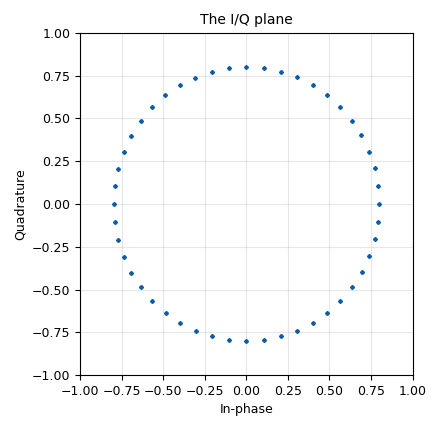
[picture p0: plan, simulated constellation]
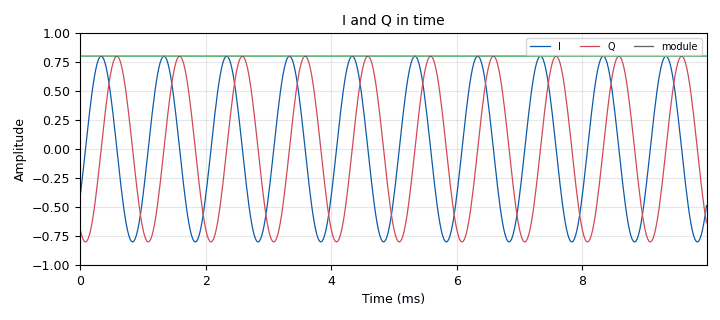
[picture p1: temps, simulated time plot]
options:
  parameters:
    generate_options: qt_gui
    id: fg_tp10_001
    output_language: python
    title: FG-TP10-001
  states: {}

blocks:
- name: freq
  id: variable_qtgui_range
  parameters:
    gui_hint: 0,0,1,1
    label: '"Frequency (Hz)"'
    start: '-2000'
    step: '250'
    stop: '2000'
    value: '1000'
  states: {}
- name: samp_rate
  id: variable
  parameters:
    value: '48000'
  states: {}
- name: debit
  id: blocks_throttle2
  parameters:
    samples_per_second: samp_rate
    type: complex
  states: {}
- name: magnitude
  id: blocks_complex_to_mag
  parameters: {}
  states: {}
- name: phaseur
  id: analog_sig_source_x
  parameters:
    amp: '0.8'
    freq: freq
    offset: '0'
    phase: '0'
    samp_rate: samp_rate
    type: complex
    waveform: analog.GR_COS_WAVE
  states: {}
- name: plan
  id: qtgui_const_sink_x
  parameters:
    grid: 'True'
    gui_hint: 2,0,1,1
    legend: 'False'
    name: '"The I/Q plane"'
    size: '1024'
    type: complex
    xmax: '1'
    xmin: '-1'
    ymax: '1'
    ymin: '-1'
  states: {}
- name: separer
  id: blocks_complex_to_float
  parameters: {}
  states: {}
- name: temps
  id: qtgui_time_sink_x
  parameters:
    grid: 'True'
    gui_hint: 1,0,1,1
    label1: '"I"'
    label2: '"Q"'
    label3: '"module"'
    name: '"I and Q in time"'
    nconnections: '3'
    size: '480'
    srate: samp_rate
    type: float
  states: {}

connections:
- [debit, '0', magnitude, '0']
- [debit, '0', plan, '0']
- [debit, '0', separer, '0']
- [magnitude, '0', temps, '2']
- [phaseur, '0', debit, '0']
- [separer, '0', temps, '0']
- [separer, '1', temps, '1']

metadata:
  file_format: 1
  grc_version: 3.10.12.0
